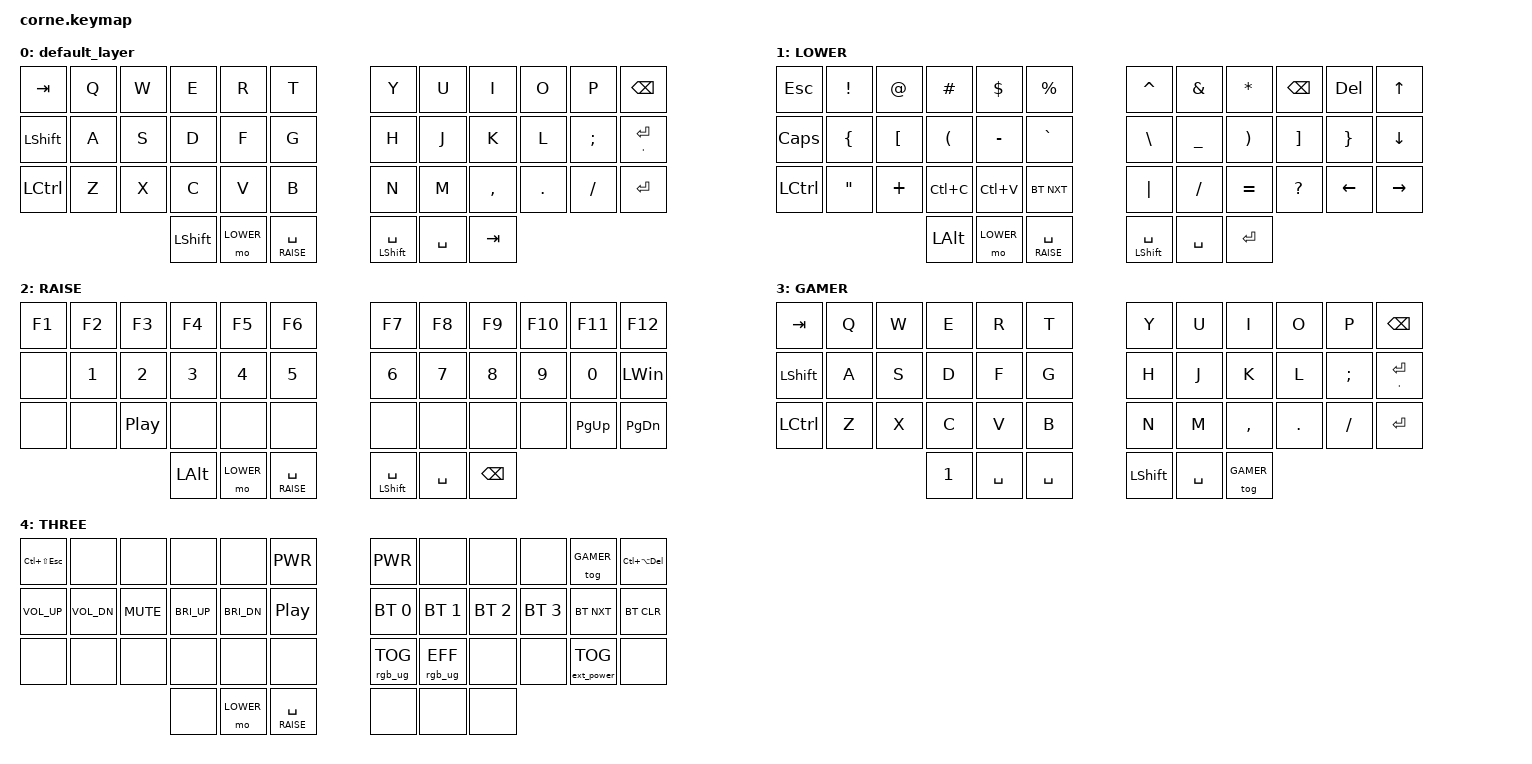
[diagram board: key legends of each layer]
/*
 * Copyright (c) 2020 The ZMK Contributors
 *
 * SPDX-License-Identifier: MIT
 */
 
#define DEFAULT  0
#define LOWER    1
#define RAISE    2
#define THREE    3
#define GAMER    4


#include <behaviors.dtsi>
#include <dt-bindings/zmk/keys.h>
#include <dt-bindings/zmk/bt.h>
#include <dt-bindings/zmk/rgb.h>
#include <dt-bindings/zmk/ext_power.h>
#include <dt-bindings/zmk/outputs.h>



&spi1 {
	compatible = "nordic,nrf-spim";
	/* Cannot be used together with i2c0. */
	status = "okay";
	mosi-pin = <6>;
	// Unused pins, needed for SPI definition, but not used by the ws2812 driver itself.
	sck-pin = <5>;
	miso-pin = <7>;

	led_strip: ws2812@0 {
		compatible = "worldsemi,ws2812-spi";
		label = "SK6812mini";

		/* SPI */
		reg = <0>; /* ignored, but necessary for SPI bindings */
		spi-max-frequency = <4000000>;

		/* WS2812 */
		chain-length = <27>; /* There are per-key RGB, but the first 6 are underglow */
		spi-one-frame = <0x70>;
		spi-zero-frame = <0x40>;
	};
};

/ {
	chosen {
		zmk,underglow = &led_strip;
	};
};

/ {
    conditional_layers {
        compatible = "zmk,conditional-layers";
        THREE {
            if-layers = <1 2>;
            then-layer = <3>;
        };
    };
};


/ {
        keymap {
                compatible = "zmk,keymap";

                default_layer {
// -----------------------------------------------------------------------------------------
// |  TAB |  Q  |  W  |  E  |  R  |  T  |   |  Y  |  U   |  I  |  O  |  P  | BSPC |
// | SHFT |  A  |  S  |  D  |  F  |  G  |   |  H  |  J   |  K  |  L  |  ;  | '    |
// | CTRL |  Z  |  X  |  C  |  V  |  B  |   |  N  |  M   |  ,  |  .  |  /  | RET  |
//                    | LALT| LWR | RAI |   | SHFT| SPC  | TAB |
                        bindings = <
   &kp TAB   &kp Q &kp W &kp E &kp R      &kp T     &kp Y            &kp U           &kp I           &kp O   &kp P    &kp BSPC
   &kp LSHFT &kp A &kp S &kp D &kp F      &kp G     &kp H            &kp J           &kp K           &kp L   &kp SEMI &mt SQT RET
   &kp LCTRL &kp Z &kp X &kp C &kp V      &kp B     &kp N            &kp M           &kp COMMA       &kp DOT &kp FSLH &kp RET
                               &kp LSHIFT &mo LOWER &lt RAISE SPACE  &mt LSHFT SPACE &kp SPACE &kp TAB
                        >;
                };
                LOWER {
// -----------------------------------------------------------------------------------------
// | ESC  |  !  |  @  |  #  |  $  |  %  |   |  ^  |  &  |  *  | BSPC| DEL | UP  |
// | CAPS |  {  |  [  |  (  |  -  |  `  |   |  \  |  _  |  )  |  ]  |  }  | DOWN|
// | CTRL |  "  |  +  |LC(C)|LC(V)|BTNXT|   | "|" |  /  |  =  |  ?  | LEFT|RIGHT|
//                    | LALT| LWR | RAI |   | SHFT| SPC | RET |
                        bindings = <
   &kp ESC   &kp EXCL &kp AT   &kp POUND   &kp DLLR  &kp PRCNT    &kp CARET &kp AMPS  &kp STAR    &kp BSPC  &kp DEL  &kp UP
   &kp CAPS  &kp LBRC &kp LBKT &kp LPAR    &kp MINUS &kp GRAVE    &kp BSLH  &kp UNDER &kp RPAR &kp RBKT  &kp RBRC &kp DOWN
   &kp LCTRL &kp DQT  &kp PLUS &kp LC(C)   &kp LC(V) &bt BT_NXT   &kp PIPE  &kp FSLH  &kp EQUAL   &kp QMARK &kp LEFT &kp RIGHT
                               &kp LALT     &mo LOWER &lt RAISE SPACE  &mt LSHFT SPACE &kp SPACE &kp RET
                        >;
                };

                RAISE { 
// -----------------------------------------------------------------------------------------
// | F1  |  F2 |  F3 |  F4 |  F5 |  F6 |   |  F7  |  F8 |  F9 | F10 | F11 | F12 |
// |     |  1  |  2  |  3  |  4  |  5  |   |  6   |  7  |  8  |  9  |  0  |LWIN |
// |     |     |     |     |     |     |   |      |     |     |     |PGUP |PGDN |
//                   | LALT| LWR | RAI |   | SHFT | SPC | BSPC|
                        bindings = <
   &kp F1 &kp F2 &kp F3   &kp F4   &kp F5    &kp F6            &kp F7    &kp F8    &kp F9   &kp F10 &kp F11   &kp F12 
   &none  &kp N1 &kp N2   &kp N3   &kp N4    &kp N5            &kp N6    &kp N7    &kp N8   &kp N9  &kp N0    &kp LWIN
   &none  &none  &kp C_PP &none    &none     &none             &none     &none     &none    &none   &kp PG_UP &kp PG_DN
                    	  &kp LALT     &mo LOWER &lt RAISE SPACE  &mt LSHFT SPACE &kp SPACE &kp BSPC
                        >;
                };
		
		GAMER {
// -----------------------------------------------------------------------------------------
// |  TAB |  Q  |  W  |  E  |  R  |  T  |   |  Y  |  U   |  I  |  O  |  P  | BSPC |
// | SHFT |  A  |  S  |  D  |  F  |  G  |   |  H  |  J   |  K  |  L  |  ;  | '    |
// | CTRL |  Z  |  X  |  C  |  V  |  B  |   |  N  |  M   |  ,  |  .  |  /  | RET  |
//                    | LALT| LWR |SPC  |   | SHFT| SPC  | TAB |
                        bindings = <
   &kp TAB   &kp Q &kp W &kp E &kp R      &kp T     &kp Y            &kp U           &kp I           &kp O   &kp P    &kp BSPC
   &kp LSHFT &kp A &kp S &kp D &kp F      &kp G     &kp H            &kp J           &kp K           &kp L   &kp SEMI &mt SQT RET
   &kp LCTRL &kp Z &kp X &kp C &kp V      &kp B     &kp N            &kp M           &kp COMMA       &kp DOT &kp FSLH &kp RET
                               &kp N1 &kp SPACE &kp SPACE  &kp LSHFT &kp SPACE &tog GAMER
                        >;
                };
		
		THREE {
// -----------------------------------------------------------------------------------------
// |CTSFE|     |     |     |     |K_PWR |   | C_PWR|     |     |     |GAMER|CTALD|
// |VOLUP|VOLDN|CMUTE|CBRUP|CBRDN| CPP  |   | BT0  | BT1 | BT2 | BT3 |BTNXT|BTCLR|
// |     |     |     |     |     |      |   |      |     |     |     |EPTOG|     |
//                   |     | LWR | RAI  |   |      |     |     |
                        bindings = <
    &kp LC(LS(ESC)) &none        &none      &none        &none        &kp K_PWR          &kp C_PWR    &none        &none        &none       &tog GAMER        &kp LC(LA(DEL)) 
    &kp C_VOL_UP    &kp C_VOL_DN &kp C_MUTE &kp C_BRI_UP &kp C_BRI_DN &kp C_PP           &bt BT_SEL 0 &bt BT_SEL 1 &bt BT_SEL 2 &bt BT_SEL 3 &bt BT_NXT        &bt BT_CLR
    &none           &none        &none      &none        &none        &none              &rgb_ug RGB_TOG        &rgb_ug RGB_EFF &none        &none        &ext_power EP_TOG &none
                                            &none        &mo LOWER    &lt RAISE SPACE    &none        &none        &none
                        >;
                };
        };
};
